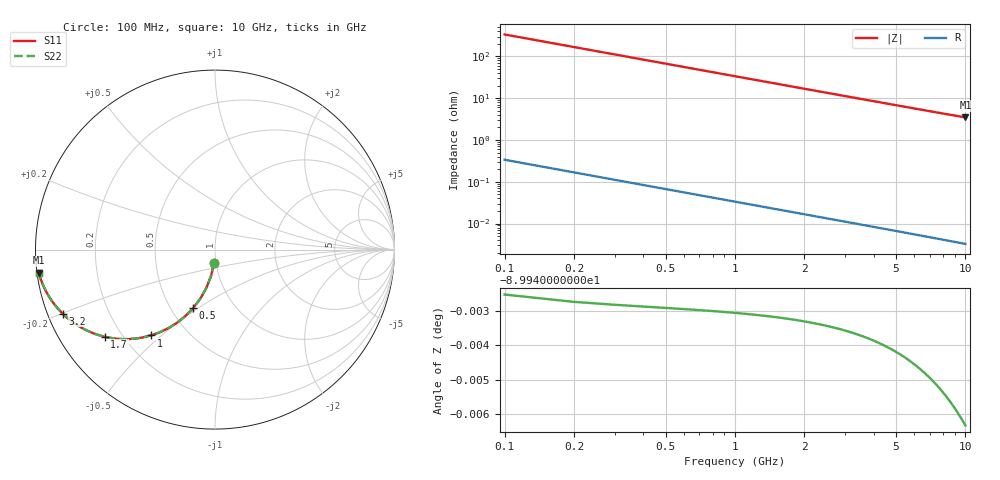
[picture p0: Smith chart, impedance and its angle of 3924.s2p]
# Hz S RI R 50.00
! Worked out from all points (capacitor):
!   100 points, 100 MHz to 10 GHz, reference 50 ohm
!   read as one part in shunt: C = 4.74 pF near 100 MHz
!   lowest |Z| = 3.47 ohm at 10 GHz (marker M1)
!   S11 on the Smith chart (normalised r, x): 100 MHz: 0.98, -0.15; 500 MHz: 0.64, -0.48; 1 GHz: 0.31, -0.46; 1.7 GHz: 0.14, -0.34; 3.2 GHz: 0.04, -0.20; 10 GHz: 0.00, -0.07
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1e8  -0.00559 -0.0741  0.9944 -0.0741  0.9944 -0.0741  -0.00559 -0.0741
2e8  -0.0219 -0.1457  0.9781 -0.1458  0.9781 -0.1458  -0.0219 -0.1457
3e8  -0.0478 -0.2127  0.9522 -0.2129  0.9522 -0.2129  -0.0478 -0.2127
4e8  -0.0818 -0.2734  0.9182 -0.2737  0.9182 -0.2737  -0.0818 -0.2734
5e8  -0.122 -0.3267  0.8779 -0.327  0.8779 -0.327  -0.122 -0.3267
6e8  -0.1667 -0.372  0.8333 -0.3724  0.8333 -0.3724  -0.1667 -0.372
7e8  -0.2139 -0.4093  0.7861 -0.4098  0.7861 -0.4098  -0.2139 -0.4093
8e8  -0.262 -0.4389  0.738 -0.4395  0.738 -0.4395  -0.262 -0.4389
1e9  -0.3565 -0.4781  0.6435 -0.4789  0.6435 -0.4789  -0.3565 -0.4781
1.3e9  -0.4831 -0.4987  0.5168 -0.4997  0.5168 -0.4997  -0.4831 -0.4987
1.7e9  -0.6146 -0.4855  0.3854 -0.4868  0.3854 -0.4868  -0.6146 -0.4855
1.8e9  -0.6412 -0.4785  0.3588 -0.4798  0.3588 -0.4798  -0.6412 -0.4785
2.1e9  -0.7083 -0.4532  0.2916 -0.4548  0.2916 -0.4548  -0.7083 -0.4532
2.4e9  -0.7601 -0.4256  0.2399 -0.4275  0.2399 -0.4275  -0.7601 -0.4256
2.8e9  -0.8115 -0.3896  0.1885 -0.3917  0.1885 -0.3917  -0.8115 -0.3896
3.2e9  -0.8488 -0.3565  0.1512 -0.359  0.1512 -0.359  -0.8488 -0.3565
3.4e9  -0.8636 -0.3414  0.1364 -0.344  0.1364 -0.344  -0.8636 -0.3414
4.2e9  -0.906 -0.2897  0.094 -0.293  0.094 -0.293  -0.906 -0.2897
5.1e9  -0.9341 -0.2455  0.0658 -0.2495  0.0658 -0.2495  -0.9341 -0.2455
6.7e9  -0.9607 -0.1912  0.0393 -0.1964  0.0393 -0.1964  -0.9607 -0.1912
8.4e9  -0.9746 -0.1533  0.0253 -0.16  0.0253 -0.16  -0.9746 -0.1533
1e10  -0.982 -0.1284  0.018 -0.1363  0.018 -0.1363  -0.982 -0.1284
